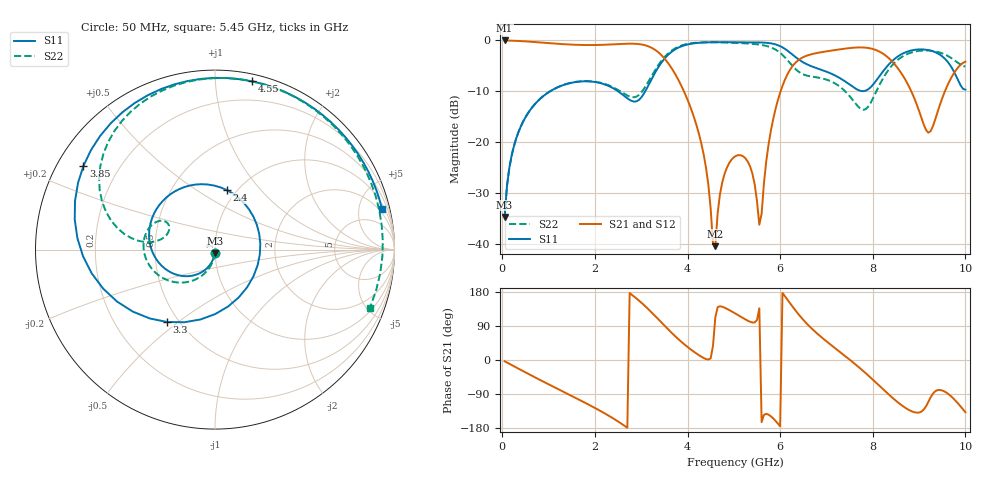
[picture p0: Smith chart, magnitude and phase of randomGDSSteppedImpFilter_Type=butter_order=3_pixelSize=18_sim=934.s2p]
! freq	dB(S11)	phase(S11)	dB(S12)	phase(S12)
!  dB(S21)	phase(S21)	dB(S22)	phase(S22)
!S-par simulation data
#  GHz  S  DB  R 50
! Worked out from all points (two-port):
!   200 points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, 50 MHz to 10 GHz, reference 50 ohm
!   highest |S21| = -0.01 dB at 50 MHz (marker M1); lowest = -40.3 dB at 4.6 GHz (marker M2)
!   |S21| within 3 dB of the highest: start of sweep to 3.449 GHz; 6.57 GHz to 8.283 GHz (1.713 GHz wide, 23.1 % of centre)
!   lowest |S11| = -34.6 dB at 50 MHz (marker M3), VSWR 1.04, Z = 49.9 - j1.85 ohm
!   |S11| at or under -10 dB: start of sweep to 1.028 GHz; 2.503 GHz to 3.084 GHz (580.8 MHz wide, 20.8 % of centre)
!   |S22| runs from -34.6 to -0.3 dB; largest |S21 - S12| = 0
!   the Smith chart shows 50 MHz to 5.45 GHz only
!   S11 on the Smith chart (normalised r, x): 50 MHz: 1.00, -0.04; 2.4 GHz: 0.90, +0.67; 3.3 GHz: 0.43, -0.46; 3.85 GHz: 0.08, +0.29; 4.55 GHz: 0.05, +1.24; 5.45 GHz: 1.49, +8.10
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0.05  -34.63 -93.6  -0.01 -3.3  -0.01 -3.3  -34.61 -92.8
0.5  -15.08 -127.2  -0.18 -32.6  -0.18 -32.6  -15.06 -119.2
1.75  -8.02 141.4  -0.90 -110.5  -0.90 -110.5  -7.98 176.9
2.4  -9.41 79.0  -0.77 -154.5  -0.77 -154.5  -9.22 152.4
3.3  -6.31 -123.5  -1.85 116.3  -1.85 116.3  -5.78 170.2
3.4  -4.83 -143.0  -2.57 103.6  -2.57 103.6  -4.42 164.3
3.85  -1.22 147.5  -8.59 49.8  -8.59 49.8  -1.06 125.9
4.35  -0.41 94.5  -22.44 5.2  -22.44 5.2  -0.36 83.5
4.55  -0.35 77.6  -39.91 37.6  -39.91 37.6  -0.35 67.1
4.6  -0.35 73.6  -40.34 112.4  -40.34 112.4  -0.36 63.0
5.05  -0.36 40.7  -22.62 121.4  -22.62 121.4  -0.48 23.4
5.45  -0.38 13.6  -28.20 99.1  -28.20 99.1  -0.71 -20.5
5.55  -0.39 6.7  -36.14 136.5  -36.14 136.5  -0.81 -34.1
5.85  -0.66 -15.2  -15.42 -154.2  -15.42 -154.2  -1.56 -86.0
6.15  -1.95 -37.5  -6.78 160.5  -6.78 160.5  -3.79 -162.2
6.4  -3.72 -49.0  -3.83 120.1  -3.83 120.1  -6.13 120.8
6.7  -5.15 -56.1  -2.65 80.9  -2.65 80.9  -7.11 42.7
7.55  -8.97 -70.6  -1.45 -3.9  -1.45 -3.9  -11.46 -111.5
8.35  -4.67 -53.2  -3.52 -91.6  -3.52 -91.6  -5.64 30.0
9.15  -1.82 -112.2  -17.56 -122.3  -17.56 -122.3  -1.96 -81.0
9.65  -4.58 -173.7  -8.10 -91.5  -8.10 -91.5  -3.20 -134.0
10  -9.64 75.9  -4.16 -137.9  -4.16 -137.9  -5.12 -156.1
